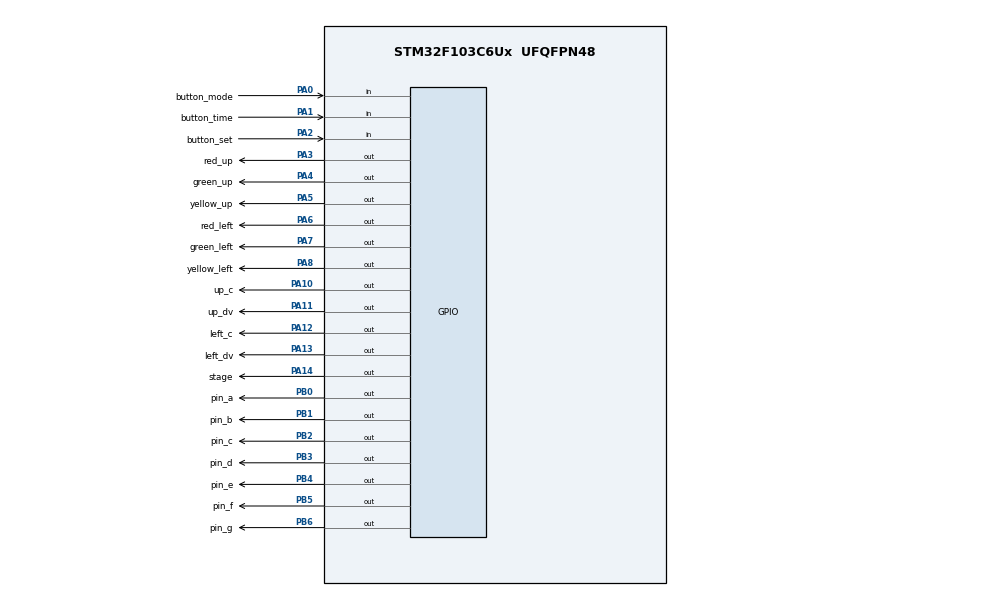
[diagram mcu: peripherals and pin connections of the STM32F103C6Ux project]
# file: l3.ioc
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Mcu.Family=STM32F1
Mcu.Name=STM32F103C6Ux
Mcu.Package=UFQFPN48
NVIC.PriorityGroup=NVIC_PRIORITYGROUP_4
NVIC.TIM2_IRQn=true\:0\:0\:false\:false\:true\:true\:true
PA0-WKUP.GPIO_Label=button_mode
PA0-WKUP.GPIO_PuPd=GPIO_PULLUP
PA0-WKUP.Signal=GPIO_Input
PA1.GPIO_Label=button_time
PA1.GPIO_PuPd=GPIO_PULLUP
PA1.Signal=GPIO_Input
PA10.GPIO_Label=up_c
PA10.Signal=GPIO_Output
PA11.GPIO_Label=up_dv
PA11.Signal=GPIO_Output
PA12.GPIO_Label=left_c
PA12.Signal=GPIO_Output
PA13.GPIO_Label=left_dv
PA13.Signal=GPIO_Output
PA14.GPIO_Label=stage
PA14.Signal=GPIO_Output
PA2.GPIO_Label=button_set
PA2.GPIO_PuPd=GPIO_PULLUP
PA2.Signal=GPIO_Input
PA3.GPIO_Label=red_up
PA3.Signal=GPIO_Output
PA4.GPIO_Label=green_up
PA4.Signal=GPIO_Output
PA5.GPIO_Label=yellow_up
PA5.Signal=GPIO_Output
PA6.GPIO_Label=red_left
PA6.Signal=GPIO_Output
PA7.GPIO_Label=green_left
PA7.Signal=GPIO_Output
PA8.GPIO_Label=yellow_left
PA8.Signal=GPIO_Output
PB0.GPIO_Label=pin_a
PB0.Signal=GPIO_Output
PB1.GPIO_Label=pin_b
PB1.Signal=GPIO_Output
PB2.GPIO_Label=pin_c
PB2.Signal=GPIO_Output
PB3.GPIO_Label=pin_d
PB3.Signal=GPIO_Output
PB4.GPIO_Label=pin_e
PB4.Signal=GPIO_Output
PB5.GPIO_Label=pin_f
PB5.Signal=GPIO_Output
PB6.GPIO_Label=pin_g
PB6.Signal=GPIO_Output
ProjectManager.HeapSize=0x200
ProjectManager.StackSize=0x400
ProjectManager.TargetToolchain=STM32CubeIDE
RCC.APB1Freq_Value=8000000
RCC.APB2Freq_Value=8000000
TIM2.Period=9
TIM2.Prescaler=7999
VP_SYS_VS_ND.Mode=No_Debug
VP_TIM2_VS_ClockSourceINT.Mode=Internal
board=custom

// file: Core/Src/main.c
/* USER CODE BEGIN Header */
/**
  ******************************************************************************
  * @file           : main.c
  * @brief          : Main program body
  ******************************************************************************
  * @attention
  *
  * <h2><center>&copy; Copyright (c) 2025 STMicroelectronics.
  * All rights reserved.</center></h2>
  *
  * This software component is licensed by ST under BSD 3-Clause license,
  * the "License"; You may not use this file except in compliance with the
  * License. You may obtain a copy of the License at:
  *                        opensource.org/licenses/BSD-3-Clause
  *
  ******************************************************************************
  */
/* USER CODE END Header */
#include "main.h"

/* USER CODE BEGIN Includes */
#include "timer.h"
#include "global.h"
#include "input_reading.h"
#include "input_processing.h"
/* USER CODE END Includes */

/* USER CODE BEGIN PD */
#define cycle 20
/* USER CODE END PD */

TIM_HandleTypeDef htim2;

void SystemClock_Config(void);
static void MX_GPIO_Init(void);
static void MX_TIM2_Init(void);

/* USER CODE BEGIN 0 */
int stage = 0;
/* USER CODE END 0 */

int main(void)
{

  /* MCU Configuration--------------------------------------------------------*/

  /* Reset of all peripherals, Initializes the Flash interface and the Systick. */
  HAL_Init();

  /* Configure the system clock */
  SystemClock_Config();

  /* Initialize all configured peripherals */
  MX_GPIO_Init();
  MX_TIM2_Init();
  /* USER CODE BEGIN 2 */
  HAL_TIM_Base_Start_IT(&htim2);
  /* USER CODE END 2 */

  /* Infinite loop */
  /* USER CODE BEGIN WHILE */
  initial_setting();
  settimer(cycle);
  turnonled();
  int countflag = 5;
  while (1)
  {
	  if(timer_flag == 1)
	  {
		  settimer(cycle);
		  update7SEG(stage);
		  stage+=1;
		  countflag--;
		  if(stage>4)
		  {
			  stage = 0;
		  }
		  if(countflag<=0)
		  {
			  countflag=5;
			  runled();
		  }

	  }
    /* USER CODE END WHILE */

  }
}

void SystemClock_Config(void)
{
  RCC_OscInitTypeDef RCC_OscInitStruct = {0};
  RCC_ClkInitTypeDef RCC_ClkInitStruct = {0};

  /** Initializes the RCC Oscillators according to the specified parameters
  * in the RCC_OscInitTypeDef structure.
  */
  RCC_OscInitStruct.OscillatorType = RCC_OSCILLATORTYPE_HSI;
  RCC_OscInitStruct.HSIState = RCC_HSI_ON;
  RCC_OscInitStruct.HSICalibrationValue = RCC_HSICALIBRATION_DEFAULT;
  RCC_OscInitStruct.PLL.PLLState = RCC_PLL_NONE;
  if (HAL_RCC_OscConfig(&RCC_OscInitStruct) != HAL_OK)
  {
    Error_Handler();
  }
  /** Initializes the CPU, AHB and APB buses clocks
  */
  RCC_ClkInitStruct.ClockType = RCC_CLOCKTYPE_HCLK|RCC_CLOCKTYPE_SYSCLK
                              |RCC_CLOCKTYPE_PCLK1|RCC_CLOCKTYPE_PCLK2;
  RCC_ClkInitStruct.SYSCLKSource = RCC_SYSCLKSOURCE_HSI;
  RCC_ClkInitStruct.AHBCLKDivider = RCC_SYSCLK_DIV1;
  RCC_ClkInitStruct.APB1CLKDivider = RCC_HCLK_DIV1;
  RCC_ClkInitStruct.APB2CLKDivider = RCC_HCLK_DIV1;

  if (HAL_RCC_ClockConfig(&RCC_ClkInitStruct, FLASH_LATENCY_0) != HAL_OK)
  {
    Error_Handler();
  }
}

static void MX_TIM2_Init(void)
{

  TIM_ClockConfigTypeDef sClockSourceConfig = {0};
  TIM_MasterConfigTypeDef sMasterConfig = {0};

  htim2.Instance = TIM2;
  htim2.Init.Prescaler = 7999;
  htim2.Init.CounterMode = TIM_COUNTERMODE_UP;
  htim2.Init.Period = 9;
  htim2.Init.ClockDivision = TIM_CLOCKDIVISION_DIV1;
  htim2.Init.AutoReloadPreload = TIM_AUTORELOAD_PRELOAD_DISABLE;
  if (HAL_TIM_Base_Init(&htim2) != HAL_OK)
  {
    Error_Handler();
  }
  sClockSourceConfig.ClockSource = TIM_CLOCKSOURCE_INTERNAL;
  if (HAL_TIM_ConfigClockSource(&htim2, &sClockSourceConfig) != HAL_OK)
  {
    Error_Handler();
  }
  sMasterConfig.MasterOutputTrigger = TIM_TRGO_RESET;
  sMasterConfig.MasterSlaveMode = TIM_MASTERSLAVEMODE_DISABLE;
  if (HAL_TIMEx_MasterConfigSynchronization(&htim2, &sMasterConfig) != HAL_OK)
  {
    Error_Handler();
  }

}

static void MX_GPIO_Init(void)
{
  GPIO_InitTypeDef GPIO_InitStruct = {0};

  /* GPIO Ports Clock Enable */
  __HAL_RCC_GPIOA_CLK_ENABLE();
  __HAL_RCC_GPIOB_CLK_ENABLE();

  /*Configure GPIO pin Output Level */
  HAL_GPIO_WritePin(GPIOA, red_up_Pin|green_up_Pin|yellow_up_Pin|red_left_Pin
                          |green_left_Pin|yellow_left_Pin|up_c_Pin|up_dv_Pin
                          |left_c_Pin|left_dv_Pin|stage_Pin, GPIO_PIN_RESET);

  /*Configure GPIO pin Output Level */
  HAL_GPIO_WritePin(GPIOB, pin_a_Pin|pin_b_Pin|pin_c_Pin|pin_d_Pin
                          |pin_e_Pin|pin_f_Pin|pin_g_Pin, GPIO_PIN_RESET);

  /*Configure GPIO pins : button_mode_Pin button_time_Pin button_set_Pin */
  GPIO_InitStruct.Pin = button_mode_Pin|button_time_Pin|button_set_Pin;
  GPIO_InitStruct.Mode = GPIO_MODE_INPUT;
  GPIO_InitStruct.Pull = GPIO_PULLUP;
  HAL_GPIO_Init(GPIOA, &GPIO_InitStruct);

  /*Configure GPIO pins : red_up_Pin green_up_Pin yellow_up_Pin red_left_Pin
                           green_left_Pin yellow_left_Pin up_c_Pin up_dv_Pin
                           left_c_Pin left_dv_Pin stage_Pin */
  GPIO_InitStruct.Pin = red_up_Pin|green_up_Pin|yellow_up_Pin|red_left_Pin
                          |green_left_Pin|yellow_left_Pin|up_c_Pin|up_dv_Pin
                          |left_c_Pin|left_dv_Pin|stage_Pin;
  GPIO_InitStruct.Mode = GPIO_MODE_OUTPUT_PP;
  GPIO_InitStruct.Pull = GPIO_NOPULL;
  GPIO_InitStruct.Speed = GPIO_SPEED_FREQ_LOW;
  HAL_GPIO_Init(GPIOA, &GPIO_InitStruct);

  /*Configure GPIO pins : pin_a_Pin pin_b_Pin pin_c_Pin pin_d_Pin
                           pin_e_Pin pin_f_Pin pin_g_Pin */
  GPIO_InitStruct.Pin = pin_a_Pin|pin_b_Pin|pin_c_Pin|pin_d_Pin
                          |pin_e_Pin|pin_f_Pin|pin_g_Pin;
  GPIO_InitStruct.Mode = GPIO_MODE_OUTPUT_PP;
  GPIO_InitStruct.Pull = GPIO_NOPULL;
  GPIO_InitStruct.Speed = GPIO_SPEED_FREQ_LOW;
  HAL_GPIO_Init(GPIOB, &GPIO_InitStruct);

}

/* USER CODE BEGIN 4 */
int c = 0;
void HAL_TIM_PeriodElapsedCallback(TIM_HandleTypeDef *htim)
{
	if(htim->Instance == TIM2)
	{
		runtime();
		button_reading();
		process();
		if(acceptrun == 0)
		{
			 c--;
			 if(c<=0)
			 {
				 c=50;
				 if(led_buffer[0] == 2) blinkred();
				 else if(led_buffer[0] == 3) blinkgreen();
				 else if(led_buffer[0] == 4) blinkyellow();
			 }
		}
	}

}
/* USER CODE END 4 */

void Error_Handler(void)
{
  __disable_irq();
  while (1)
  {
  }
}

/************************ (C) COPYRIGHT STMicroelectronics *****END OF FILE****/
